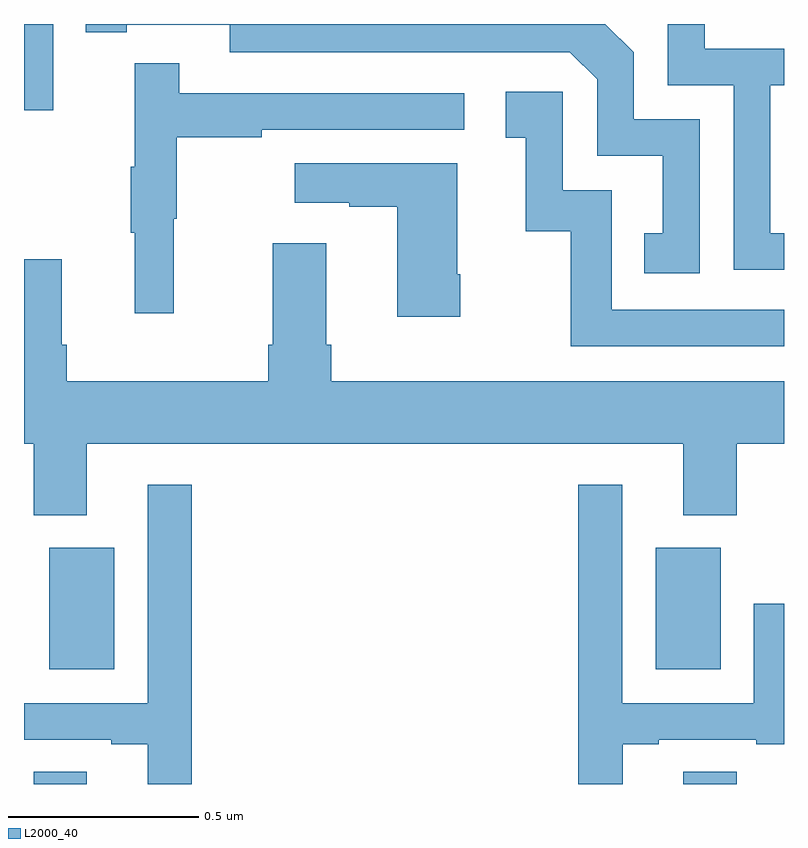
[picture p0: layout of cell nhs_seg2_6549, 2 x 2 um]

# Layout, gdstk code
import gdstk
lib = gdstk.Library(unit=1e-6, precision=1e-09)
def R(c, l, rs):  # rectangles x0, y0, x1, y1
    for r in rs: c.add(gdstk.rectangle(r[:2], r[2:], *l))
def P(c, l, *ps):  # polygons
    for p in ps: c.add(gdstk.Polygon(p, *l))
L2000_40 = (2000, 40)

nhs_seg2_6549 = lib.new_cell('nhs_seg2_6549')
R(nhs_seg2_6549, L2000_40, [(193.025,586.8,193.165,586.832), (194.735,586.8,194.875,586.832), (193.067,587.102,193.237,587.422), (194.663,587.102,194.833,587.422), (193,588.573,193.077,588.8)])
P(nhs_seg2_6549, L2000_40, [(194.778,588.549),(194.604,588.549),(194.604,588.726),(194.53,588.8),(193.162,588.8),(193.162,588.778),(193.27,588.778),(193.27,588.798),(193.542,588.798),(193.542,588.726),(194.436,588.726),(194.508,588.654),(194.508,588.453),(194.681,588.453),(194.681,588.249),(194.632,588.249),(194.632,588.144),(194.778,588.144)],
  [(195,588.25),(194.964,588.25),(194.964,588.639),(195,588.639),(195,588.735),(194.791,588.735),(194.791,588.8),(194.694,588.8),(194.694,588.639),(194.868,588.639),(194.868,588.153),(195,588.153)],
  [(193.394,588.288),(193.402,588.288),(193.402,588.502),(193.625,588.502),(193.625,588.522),(194.158,588.522),(194.158,588.618),(193.409,588.618),(193.409,588.697),(193.292,588.697),(193.292,588.425),(193.281,588.425),(193.281,588.251),(193.292,588.251),(193.292,588.039),(193.394,588.039)],
  [(195,588.048),(194.547,588.048),(194.547,588.363),(194.418,588.363),(194.418,588.622),(194.268,588.622),(194.268,588.501),(194.321,588.501),(194.321,588.255),(194.439,588.255),(194.439,587.952),(195,587.952)],
  [(194.148,588.142),(194.14,588.142),(194.14,588.433),(193.713,588.433),(193.713,588.329),(193.856,588.329),(193.856,588.319),(193.982,588.319),(193.982,588.03),(194.148,588.03)],
  [(193.165,587.696),(194.735,587.696),(194.735,587.507),(194.875,587.507),(194.875,587.696),(195,587.696),(195,587.86),(193.808,587.86),(193.808,587.956),(193.795,587.956),(193.795,588.223),(193.655,588.223),(193.655,587.956),(193.643,587.956),(193.643,587.86),(193.112,587.86),(193.112,587.956),(193.099,587.956),(193.099,588.181),(193,588.181),(193,587.696),(193.025,587.696),(193.025,587.507),(193.165,587.507)],
  [(194.575,586.905),(194.671,586.905),(194.671,586.917),(194.927,586.917),(194.927,586.905),(195,586.905),(195,587.275),(194.921,587.275),(194.921,587.013),(194.574,587.013),(194.574,587.587),(194.458,587.587),(194.458,586.8),(194.575,586.8)],
  [(193.442,587.587),(193.326,587.587),(193.326,587.013),(193,587.013),(193,586.917),(193.229,586.917),(193.229,586.905),(193.325,586.905),(193.325,586.8),(193.442,586.8)])

lib.write_gds('nhs_seg2_6549.gds')
